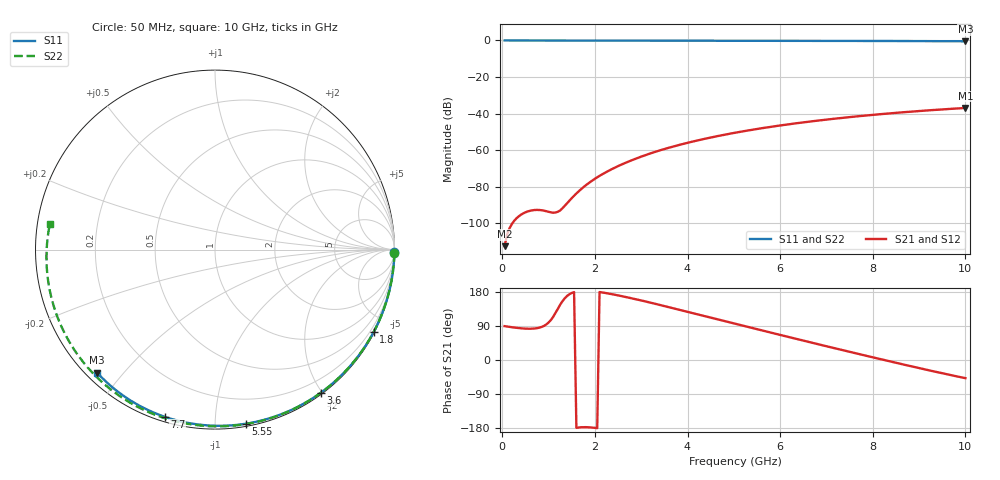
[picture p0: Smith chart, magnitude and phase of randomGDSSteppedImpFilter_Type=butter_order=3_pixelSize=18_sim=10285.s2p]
! freq	dB(S11)	phase(S11)	dB(S12)	phase(S12)
!  dB(S21)	phase(S21)	dB(S22)	phase(S22)
!S-par simulation data
#  GHz  S  DB  R 50
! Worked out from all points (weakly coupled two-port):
!   200 points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, 50 MHz to 10 GHz, reference 50 ohm
!   highest |S21| = -36.90 dB at 10 GHz (marker M1); lowest = -112.4 dB at 50 MHz (marker M2)
!   lowest |S11| = -0.5 dB at 10 GHz (marker M3), VSWR 38.39, Z = 1.54 - j21.3 ohm
!   |S11| at or under -10 dB: nowhere
!   |S22| runs from -0.6 to 0.0 dB; largest |S21 - S12| = 0
!   S11 on the Smith chart (normalised r, x): 50 MHz: open; 1.8 GHz: 0.04, -4.10; 3.6 GHz: 0.02, -1.98; 5.55 GHz: 0.02, -1.19; 7.7 GHz: 0.02, -0.74; 10 GHz: 0.03, -0.43
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0.05  -0.00 -0.8  -112.43 89.3  -112.43 89.3  -0.00 -1.1
0.5  -0.01 -7.7  -93.91 82.8  -93.91 82.8  -0.01 -10.5
0.9  -0.02 -13.8  -93.02 89.9  -93.02 89.9  -0.02 -18.8
1.3  -0.02 -19.9  -91.68 155.3  -91.68 155.3  -0.03 -27.0
1.75  -0.03 -26.7  -80.23 -177.2  -80.23 -177.2  -0.05 -36.2
1.8  -0.03 -27.4  -79.21 -177.2  -79.21 -177.2  -0.05 -37.2
2.1  -0.04 -31.9  -74.01 179.3  -74.01 179.3  -0.06 -43.2
2.45  -0.05 -37.0  -69.27 171.7  -69.27 171.7  -0.06 -50.1
2.9  -0.06 -43.6  -64.44 159.9  -64.44 159.9  -0.08 -58.9
3.4  -0.07 -50.7  -60.09 145.3  -60.09 145.3  -0.09 -68.5
3.6  -0.07 -53.6  -58.61 139.2  -58.61 139.2  -0.10 -72.3
4.3  -0.09 -63.3  -54.16 118.0  -54.16 118.0  -0.12 -85.3
5.05  -0.11 -73.4  -50.32 95.1  -50.32 95.1  -0.15 -98.8
5.55  -0.13 -80.0  -48.18 79.9  -48.18 79.9  -0.18 -107.7
6.1  -0.15 -87.1  -46.11 63.2  -46.11 63.2  -0.21 -117.4
6.7  -0.18 -94.6  -44.14 45.2  -44.14 45.2  -0.25 -127.8
7.7  -0.24 -106.8  -41.39 15.7  -41.39 15.7  -0.34 -145.4
8.35  -0.29 -114.6  -39.88 -3.0  -39.88 -3.0  -0.40 -157.0
8.8  -0.33 -119.8  -38.95 -15.8  -38.95 -15.8  -0.46 -165.3
9.2  -0.37 -124.5  -38.21 -26.9  -38.21 -26.9  -0.51 -172.9
9.6  -0.41 -129.2  -37.52 -37.6  -37.52 -37.6  -0.56 179.3
10  -0.45 -133.8  -36.90 -47.9  -36.90 -47.9  -0.62 171.2
